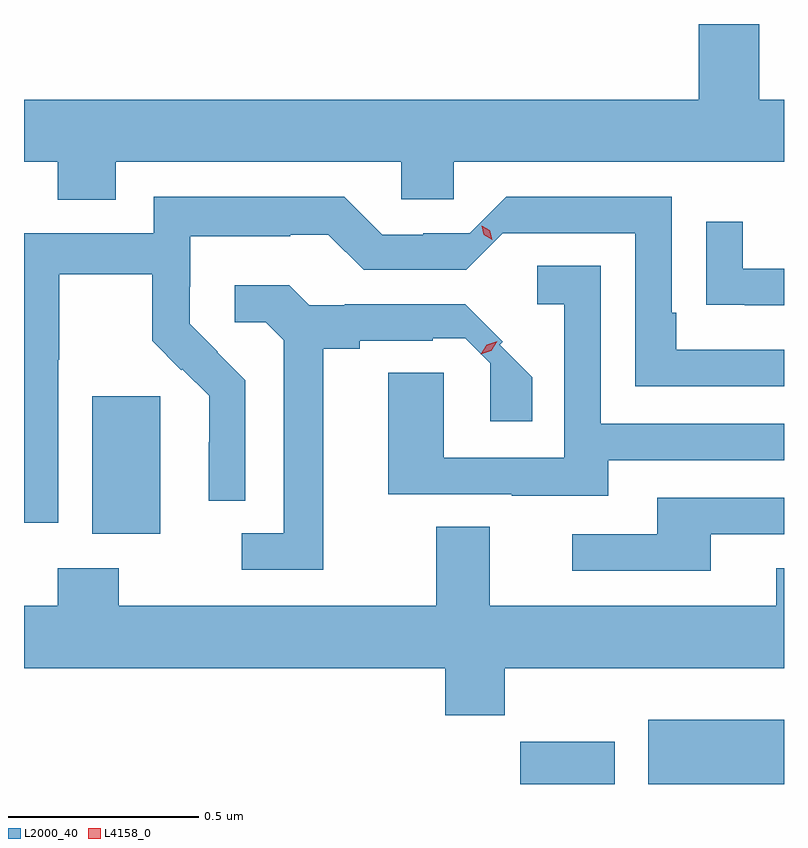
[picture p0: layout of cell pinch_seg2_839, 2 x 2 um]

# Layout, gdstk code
import gdstk
lib = gdstk.Library(unit=1e-6, precision=1e-09)
def R(c, l, rs):  # rectangles x0, y0, x1, y1
    for r in rs: c.add(gdstk.rectangle(r[:2], r[2:], *l))
def P(c, l, *ps):  # polygons
    for p in ps: c.add(gdstk.Polygon(p, *l))
L2000_40 = (2000, 40)
L4158_0 = (4158, 0)

pinch_seg2_839 = lib.new_cell('pinch_seg2_839')
R(pinch_seg2_839, L2000_40, [(749.422,590.055,749.671,590.166), (749.759,590.055,750.116,590.224), (748.295,590.714,748.474,591.075)])
P(pinch_seg2_839, L2000_40, [(748.357,591.692),(749.109,591.692),(749.109,591.594),(749.247,591.594),(749.247,591.692),(750.116,591.692),(750.116,591.856),(750.051,591.856),(750.051,592.055),(749.891,592.055),(749.891,591.856),(748.116,591.856),(748.116,591.692),(748.205,591.692),(748.205,591.593),(748.357,591.593)],
  [(748.206,591.172),(748.209,591.172),(748.209,591.396),(748.453,591.396),(748.453,591.221),(748.53,591.144),(748.533,591.147),(748.604,591.077),(748.604,590.954),(748.602,590.954),(748.602,590.8),(748.698,590.8),(748.698,591.118),(748.625,591.191),(748.626,591.192),(748.552,591.266),(748.552,591.363),(748.554,591.363),(748.554,591.497),(748.817,591.497),(748.817,591.501),(748.917,591.501),(749.01,591.408),(749.28,591.408),(749.376,591.504),(749.724,591.504),(749.724,591.102),(750.116,591.102),(750.116,591.198),(749.833,591.198),(749.833,591.295),(749.82,591.295),(749.82,591.6),(749.385,591.6),(749.289,591.504),(749.166,591.504),(749.166,591.501),(749.059,591.501),(748.959,591.601),(748.458,591.601),(748.458,591.504),(748.116,591.504),(748.116,590.743),(748.206,590.743)],
  [(750.116,591.411),(750.007,591.411),(750.007,591.535),(749.911,591.535),(749.911,591.316),(750.013,591.316),(750.013,591.315),(750.116,591.315)],
  [(749.653,590.907),(750.116,590.907),(750.116,591.003),(749.634,591.003),(749.634,591.419),(749.466,591.419),(749.466,591.318),(749.538,591.318),(749.538,590.913),(749.221,590.913),(749.221,591.137),(749.075,591.137),(749.075,590.817),(749.399,590.817),(749.399,590.813),(749.653,590.813)],
  [(748.903,591.2),(748.999,591.2),(748.999,591.222),(749.192,591.222),(749.192,591.228),(749.277,591.228),(749.343,591.162),(749.343,591.009),(749.453,591.009),(749.453,591.125),(749.368,591.211),(749.376,591.219),(749.277,591.318),(748.96,591.318),(748.96,591.315),(748.866,591.315),(748.814,591.367),(748.671,591.367),(748.671,591.27),(748.752,591.27),(748.799,591.223),(748.799,590.715),(748.689,590.715),(748.689,590.619),(748.903,590.619)],
  [(749.923,590.712),(750.116,590.712),(750.116,590.808),(749.783,590.808),(749.783,590.712),(749.559,590.712),(749.559,590.616),(749.923,590.616)],
  [(749.381,590.36),(750.116,590.36),(750.116,590.623),(750.095,590.623),(750.095,590.524),(749.341,590.524),(749.341,590.732),(749.201,590.732),(749.201,590.524),(748.365,590.524),(748.365,590.623),(748.205,590.623),(748.205,590.524),(748.116,590.524),(748.116,590.36),(749.225,590.36),(749.225,590.236),(749.381,590.236)])
P(pinch_seg2_839, L4158_0, [(749.318,591.186),(749.318,591.186),(749.334,591.211),(749.362,591.22),(749.362,591.22),(749.362,591.22),(749.346,591.195),(749.318,591.186)],
  [(749.348,591.487),(749.326,591.5),(749.32,591.524),(749.32,591.524),(749.32,591.524),(749.342,591.512),(749.348,591.487),(749.348,591.487)])

lib.write_gds('pinch_seg2_839.gds')
